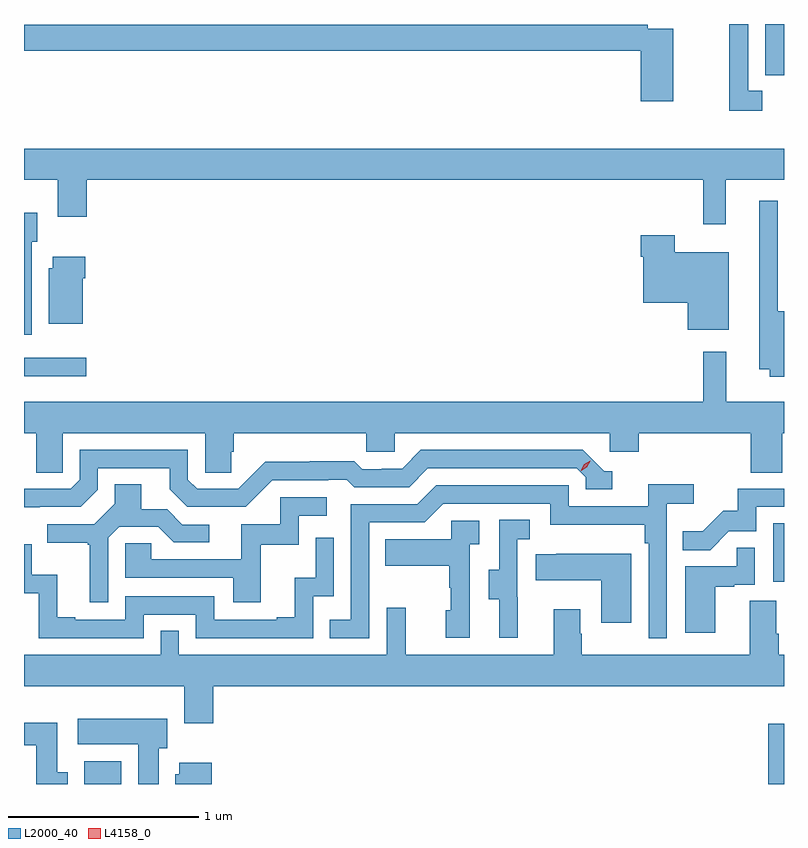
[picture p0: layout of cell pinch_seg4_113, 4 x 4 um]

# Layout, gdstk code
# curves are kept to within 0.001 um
import gdstk
lib = gdstk.Library(unit=1e-6, precision=1e-09)
def R(c, l, rs):  # rectangles x0, y0, x1, y1
    for r in rs: c.add(gdstk.rectangle(r[:2], r[2:], *l))
def P(c, l, *ps):  # polygons
    for p in ps: c.add(gdstk.Polygon(p, *l))
L2000_40 = (2000, 40)
L4158_0 = (4158, 0)

pinch_seg4_113 = lib.new_cell('pinch_seg4_113')
R(pinch_seg4_113, L2000_40, [(1054.619,797.637,1054.816,797.758), (1058.221,797.637,1058.303,797.953), (1058.246,798.702,1058.303,799.009), (1054.303,799.784,1054.63,799.881), (1058.204,801.366,1058.303,801.637)])
P(pinch_seg4_113, L2000_40, [(1058.188,801.285),(1058.115,801.285),(1058.115,801.637),(1058.014,801.637),(1058.014,801.18),(1058.188,801.18)],
  [(1057.72,801.612),(1057.586,801.612),(1057.586,801.632),(1054.303,801.632),(1054.303,801.496),(1057.55,801.496),(1057.55,801.231),(1057.72,801.231)],
  [(1057.997,800.816),(1058.303,800.816),(1058.303,800.98),(1054.303,800.98),(1054.303,800.816),(1054.481,800.816),(1054.481,800.622),(1054.634,800.622),(1054.634,800.816),(1057.879,800.816),(1057.879,800.583),(1057.997,800.583)],
  [(1058.303,800.125),(1058.271,800.125),(1058.271,800.707),(1058.174,800.707),(1058.174,799.82),(1058.228,799.82),(1058.228,799.781),(1058.303,799.781)],
  [(1054.345,800.49),(1054.372,800.49),(1054.372,800.644),(1054.303,800.644),(1054.303,800.001),(1054.345,800.001)],
  [(1058.011,800.437),(1057.728,800.437),(1057.728,800.524),(1057.55,800.524),(1057.55,800.411),(1057.562,800.411),(1057.562,800.171),(1057.796,800.171),(1057.796,800.027),(1058.011,800.027)],
  [(1054.612,800.3),(1054.625,800.3),(1054.625,800.413),(1054.454,800.413),(1054.454,800.352),(1054.433,800.352),(1054.433,800.06),(1054.612,800.06)],
  [(1054.303,799.484),(1054.367,799.484),(1054.367,799.276),(1054.506,799.276),(1054.506,799.484),(1055.256,799.484),(1055.256,799.276),(1055.393,799.276),(1055.393,799.386),(1055.408,799.386),(1055.408,799.484),(1056.105,799.484),(1056.105,799.386),(1056.255,799.386),(1056.255,799.484),(1057.386,799.484),(1057.386,799.386),(1057.538,799.386),(1057.538,799.484),(1058.129,799.484),(1058.129,799.276),(1058.294,799.276),(1058.294,799.484),(1058.303,799.484),(1058.303,799.648),(1057.998,799.648),(1057.998,799.912),(1057.879,799.912),(1057.879,799.648),(1054.303,799.648)],
  [(1054.386,799.095),(1054.602,799.095),(1054.692,799.185),(1054.692,799.299),(1055.069,799.299),(1055.069,799.189),(1055.163,799.095),(1055.469,799.095),(1055.61,799.236),(1055.903,799.236),(1055.903,799.239),(1056.002,799.239),(1056.041,799.2),(1056.33,799.2),(1056.429,799.299),(1057.212,799.299),(1057.26,799.251),(1057.26,799.188),(1057.399,799.188),(1057.399,799.284),(1057.356,799.284),(1057.245,799.395),(1056.392,799.395),(1056.293,799.296),(1056.186,799.296),(1056.186,799.293),(1056.083,799.293),(1056.041,799.336),(1055.808,799.336),(1055.808,799.333),(1055.572,799.333),(1055.43,799.191),(1055.214,799.191),(1055.166,799.239),(1055.166,799.395),(1054.596,799.395),(1054.596,799.239),(1054.548,799.191),(1054.303,799.191),(1054.303,799.094)],
  [(1056.12,799.014),(1056.411,799.014),(1056.51,799.113),(1057.074,799.113),(1057.074,799.001),(1057.57,799.001),(1057.57,798.905),(1057.59,798.905),(1057.59,798.405),(1057.686,798.405),(1057.686,799.112),(1057.828,799.112),(1057.828,799.214),(1057.589,799.214),(1057.589,799.098),(1057.17,799.098),(1057.17,799.209),(1056.473,799.209),(1056.374,799.11),(1056.024,799.11),(1056.024,798.501),(1055.911,798.501),(1055.911,798.405),(1056.12,798.405)],
  [(1054.746,798.933),(1054.803,798.99),(1055.009,798.99),(1055.09,798.909),(1055.278,798.909),(1055.278,799.002),(1055.136,799.002),(1055.056,799.082),(1054.921,799.082),(1054.921,799.214),(1054.781,799.214),(1054.781,799.112),(1054.674,799.005),(1054.425,799.005),(1054.425,798.908),(1054.638,798.908),(1054.638,798.897),(1054.649,798.897),(1054.649,798.594),(1054.746,798.594)],
  [(1058.013,798.966),(1058.157,798.966),(1058.157,799.095),(1058.303,799.095),(1058.303,799.191),(1058.059,799.191),(1058.059,799.074),(1057.982,799.074),(1057.875,798.967),(1057.771,798.967),(1057.771,798.868),(1057.915,798.868)],
  [(1055.549,798.897),(1055.748,798.897),(1055.748,799.05),(1055.896,799.05),(1055.896,799.146),(1055.652,799.146),(1055.652,799.005),(1055.447,799.005),(1055.447,798.819),(1054.973,798.819),(1054.973,798.903),(1054.836,798.903),(1054.836,798.723),(1055.405,798.723),(1055.405,798.594),(1055.549,798.594)],
  [(1056.902,798.621),(1056.9,798.621),(1056.9,798.925),(1056.964,798.925),(1056.964,799.028),(1056.804,799.028),(1056.804,798.765),(1056.749,798.765),(1056.749,798.61),(1056.803,798.61),(1056.803,798.408),(1056.902,798.408)],
  [(1056.648,798.899),(1056.7,798.899),(1056.7,799.023),(1056.552,799.023),(1056.552,798.925),(1056.205,798.925),(1056.205,798.785),(1056.54,798.785),(1056.54,798.671),(1056.55,798.671),(1056.55,798.552),(1056.524,798.552),(1056.524,798.408),(1056.648,798.408)],
  [(1054.932,798.528),(1055.208,798.528),(1055.208,798.405),(1055.826,798.405),(1055.826,798.624),(1055.934,798.624),(1055.934,798.934),(1055.838,798.934),(1055.838,798.722),(1055.729,798.722),(1055.729,798.514),(1055.633,798.514),(1055.633,798.501),(1055.304,798.501),(1055.304,798.624),(1054.836,798.624),(1054.836,798.501),(1054.573,798.501),(1054.573,798.514),(1054.477,798.514),(1054.477,798.739),(1054.344,798.739),(1054.344,798.9),(1054.303,798.9),(1054.303,798.641),(1054.38,798.641),(1054.38,798.405),(1054.932,798.405)],
  [(1057.942,798.675),(1058.042,798.675),(1058.042,798.687),(1058.148,798.687),(1058.148,798.881),(1058.053,798.881),(1058.053,798.783),(1057.784,798.783),(1057.784,798.432),(1057.942,798.432)],
  [(1057.498,798.85),(1057.105,798.85),(1057.105,798.847),(1056.997,798.847),(1056.997,798.71),(1057.34,798.71),(1057.34,798.486),(1057.498,798.486)],
  [(1055.3,798.152),(1058.303,798.152),(1058.303,798.316),(1058.276,798.316),(1058.276,798.428),(1058.263,798.428),(1058.263,798.602),(1058.123,798.602),(1058.123,798.316),(1057.239,798.316),(1057.239,798.428),(1057.231,798.428),(1057.231,798.556),(1057.091,798.556),(1057.091,798.316),(1056.311,798.316),(1056.311,798.565),(1056.213,798.565),(1056.213,798.316),(1055.118,798.316),(1055.118,798.443),(1055.022,798.443),(1055.022,798.316),(1054.303,798.316),(1054.303,798.152),(1055.147,798.152),(1055.147,797.958),(1055.3,797.958)],
  [(1055.011,797.826),(1055.056,797.826),(1055.056,797.98),(1054.587,797.98),(1054.587,797.846),(1054.904,797.846),(1054.904,797.637),(1055.011,797.637)],
  [(1054.534,797.7),(1054.477,797.7),(1054.477,797.959),(1054.303,797.959),(1054.303,797.84),(1054.367,797.84),(1054.367,797.637),(1054.534,797.637)],
  [(1055.291,797.749),(1055.12,797.749),(1055.12,797.688),(1055.099,797.688),(1055.099,797.637),(1055.291,797.637)])
P(pinch_seg4_113, L4158_0, [(1057.234,799.286),(1057.234,799.287),(1057.251,799.319),(1057.282,799.338),(1057.282,799.338),(1057.282,799.337),(1057.266,799.305),(1057.235,799.286)])

lib.write_gds('pinch_seg4_113.gds')
